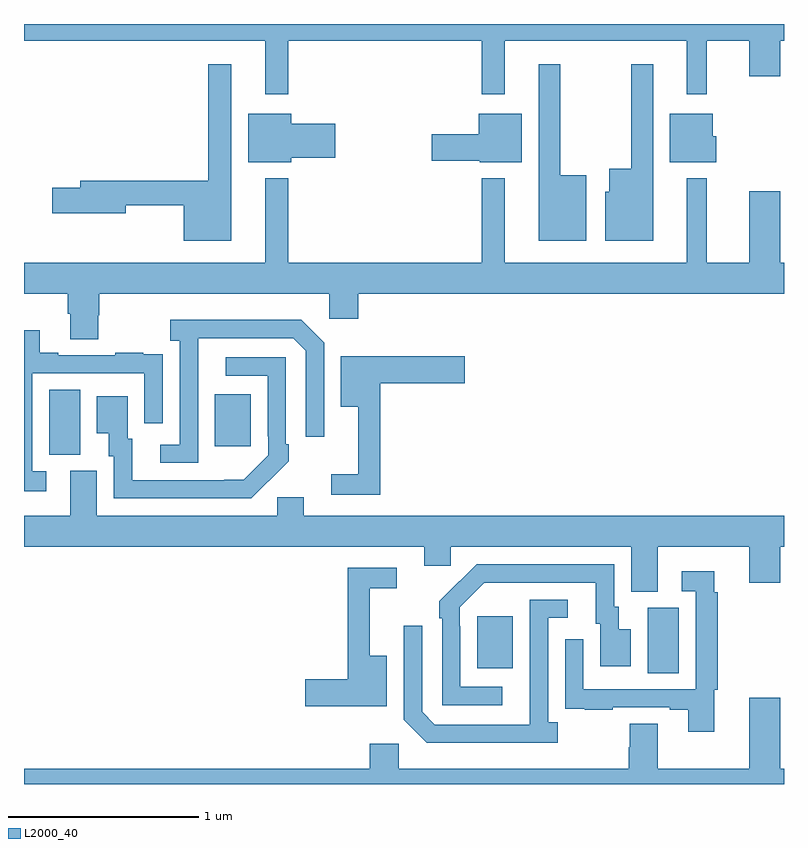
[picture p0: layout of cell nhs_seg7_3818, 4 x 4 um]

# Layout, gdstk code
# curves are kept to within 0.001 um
import gdstk
lib = gdstk.Library(unit=1e-6, precision=1e-09)
def R(c, l, rs):  # rectangles x0, y0, x1, y1
    for r in rs: c.add(gdstk.rectangle(r[:2], r[2:], *l))
def P(c, l, *ps):  # polygons
    for p in ps: c.add(gdstk.Polygon(p, *l))
L2000_40 = (2000, 40)

nhs_seg7_3818 = lib.new_cell('nhs_seg7_3818')
R(nhs_seg7_3818, L2000_40, [(356.282,1034.584,356.446,1034.928), (355.385,1034.609,355.573,1034.884), (353.132,1035.733,353.296,1036.076), (354.005,1035.777,354.193,1036.051)])
P(nhs_seg7_3818, L2000_40, [(354.391,1037.912),(355.41,1037.912),(355.41,1037.631),(355.531,1037.631),(355.531,1037.912),(356.489,1037.912),(356.489,1037.631),(356.593,1037.631),(356.593,1037.912),(356.816,1037.912),(356.816,1037.724),(356.98,1037.724),(356.98,1037.912),(357,1037.912),(357,1038),(353,1038),(353,1037.912),(354.269,1037.912),(354.269,1037.631),(354.391,1037.631)],
  [(354.091,1037.788),(353.97,1037.788),(353.97,1037.174),(353.297,1037.174),(353.297,1037.138),(353.148,1037.138),(353.148,1037.003),(353.536,1037.003),(353.536,1037.046),(353.84,1037.046),(353.84,1036.859),(354.091,1036.859)],
  [(356.311,1037.788),(356.197,1037.788),(356.197,1037.239),(356.081,1037.239),(356.081,1037.118),(356.06,1037.118),(356.06,1036.859),(356.311,1036.859)],
  [(355.96,1037.203),(355.823,1037.203),(355.823,1037.788),(355.709,1037.788),(355.709,1036.859),(355.96,1036.859)],
  [(356.644,1037.409),(356.626,1037.409),(356.626,1037.527),(356.399,1037.527),(356.399,1037.273),(356.644,1037.273)],
  [(355.621,1037.527),(355.394,1037.527),(355.394,1037.421),(355.146,1037.421),(355.146,1037.279),(355.398,1037.279),(355.398,1037.273),(355.621,1037.273)],
  [(354.406,1037.297),(354.637,1037.297),(354.637,1037.475),(354.406,1037.475),(354.406,1037.527),(354.179,1037.527),(354.179,1037.273),(354.406,1037.273)],
  [(353,1036.58),(353.231,1036.58),(353.231,1036.474),(353.243,1036.474),(353.243,1036.342),(353.391,1036.342),(353.391,1036.467),(353.396,1036.467),(353.396,1036.58),(354.606,1036.58),(354.606,1036.449),(354.758,1036.449),(354.758,1036.58),(357,1036.58),(357,1036.744),(356.98,1036.744),(356.98,1037.119),(356.816,1037.119),(356.816,1036.744),(356.593,1036.744),(356.593,1037.188),(356.489,1037.188),(356.489,1036.744),(355.531,1036.744),(355.531,1037.188),(355.41,1037.188),(355.41,1036.744),(354.391,1036.744),(354.391,1037.188),(354.269,1037.188),(354.269,1036.744),(353,1036.744)],
  [(353.916,1036.147),(353.917,1036.347),(354.417,1036.347),(354.483,1036.281),(354.483,1035.828),(354.579,1035.828),(354.579,1036.323),(354.458,1036.444),(353.769,1036.444),(353.769,1036.334),(353.82,1036.334),(353.82,1035.786),(353.718,1035.786),(353.718,1035.69),(353.916,1035.69)],
  [(353.116,1035.645),(353.043,1035.645),(353.043,1036.161),(353.634,1036.161),(353.634,1035.9),(353.73,1035.9),(353.73,1036.154),(353.729,1036.154),(353.729,1036.263),(353.627,1036.263),(353.627,1036.27),(353.479,1036.27),(353.479,1036.257),(353.179,1036.257),(353.179,1036.27),(353.083,1036.27),(353.083,1036.387),(353,1036.387),(353,1035.54),(353.116,1035.54)],
  [(354.875,1036.109),(355.321,1036.109),(355.321,1036.251),(354.668,1036.251),(354.668,1035.986),(354.758,1035.986),(354.758,1035.631),(354.618,1035.631),(354.618,1035.522),(354.875,1035.522)],
  [(354.287,1035.595),(354.288,1035.594),(354.393,1035.699),(354.393,1035.787),(354.378,1035.787),(354.378,1036.245),(354.063,1036.245),(354.063,1036.149),(354.282,1036.149),(354.282,1035.829),(354.285,1035.829),(354.285,1035.729),(354.157,1035.601),(353.569,1035.6),(353.569,1035.816),(353.545,1035.816),(353.545,1036.042),(353.384,1036.042),(353.384,1035.845),(353.447,1035.845),(353.447,1035.726),(353.472,1035.726),(353.472,1035.504),(354.196,1035.504)],
  [(356.335,1035.248),(356.816,1035.248),(356.816,1035.06),(356.98,1035.06),(356.98,1035.248),(357,1035.248),(357,1035.412),(354.472,1035.412),(354.472,1035.51),(354.333,1035.51),(354.333,1035.412),(353.383,1035.412),(353.383,1035.648),(353.243,1035.648),(353.243,1035.412),(353,1035.412),(353,1035.248),(355.106,1035.248),(355.106,1035.15),(355.245,1035.15),(355.245,1035.248),(356.195,1035.248),(356.195,1035.013),(356.335,1035.013)],
  [(355.516,1034.511),(355.296,1034.511),(355.296,1034.831),(355.293,1034.831),(355.293,1034.931),(355.422,1035.06),(356.009,1035.06),(356.009,1034.844),(356.033,1034.844),(356.033,1034.619),(356.194,1034.619),(356.194,1034.815),(356.131,1034.815),(356.131,1034.934),(356.106,1034.934),(356.106,1035.156),(355.382,1035.156),(355.185,1034.961),(355.185,1034.873),(355.2,1034.873),(355.2,1034.415),(355.516,1034.415)],
  [(354.91,1034.674),(354.821,1034.674),(354.821,1035.03),(354.961,1035.03),(354.961,1035.138),(354.703,1035.138),(354.703,1034.552),(354.48,1034.552),(354.48,1034.41),(354.91,1034.41)],
  [(356.633,1034.496),(356.651,1034.496),(356.651,1035.008),(356.633,1035.008),(356.633,1035.121),(356.463,1035.121),(356.463,1035.015),(356.535,1035.015),(356.535,1034.499),(355.944,1034.499),(355.944,1034.761),(355.848,1034.761),(355.848,1034.506),(355.849,1034.506),(355.849,1034.397),(355.951,1034.397),(355.951,1034.391),(356.099,1034.391),(356.099,1034.403),(356.399,1034.403),(356.399,1034.391),(356.495,1034.391),(356.495,1034.274),(356.633,1034.274)],
  [(355.81,1034.326),(355.758,1034.326),(355.758,1034.874),(355.861,1034.874),(355.861,1034.97),(355.662,1034.97),(355.661,1034.313),(355.161,1034.313),(355.095,1034.379),(355.095,1034.833),(354.999,1034.833),(354.999,1034.337),(355.12,1034.216),(355.81,1034.216)],
  [(357,1034.08),(356.98,1034.08),(356.98,1034.455),(356.816,1034.455),(356.816,1034.08),(356.335,1034.08),(356.335,1034.318),(356.188,1034.318),(356.188,1034.193),(356.183,1034.193),(356.183,1034.08),(354.972,1034.08),(354.972,1034.212),(354.821,1034.212),(354.821,1034.08),(353,1034.08),(353,1034),(357,1034)])

lib.write_gds('nhs_seg7_3818.gds')
